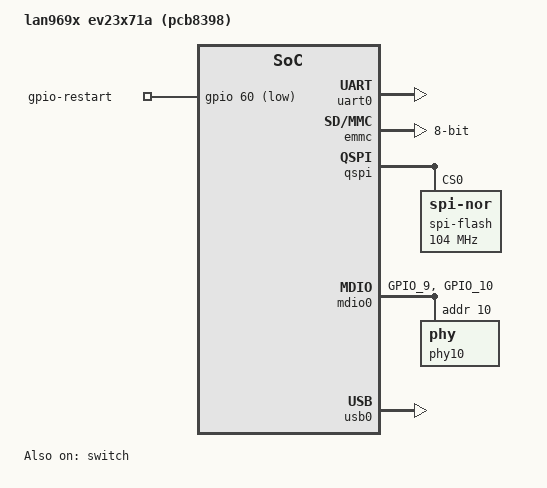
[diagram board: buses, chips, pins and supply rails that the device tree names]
/dts-v1/;

#include "lan969x_a0.dtsi"
#include "lan969x.dtsi"

#include <dt-bindings/gpio/gpio.h>
#include <dt-bindings/mscc/sparx5_data.h>

/ {
	model = "lan969x ev23x71a (pcb8398)";

	gpio-restart {
		compatible = "gpio-restart";
		gpios = <&gpio 60 GPIO_ACTIVE_LOW>;
		priority = <200>;
	};
};

&uart0 {
	status = "okay";
	pinctrl-0 = <&fc0_pins>;
	pinctrl-names = "default";
};

&emmc {
	status = "okay";
	pinctrl-0 = <&emmc_sd_pins>;
	pinctrl-names = "default";
	bus-width = <8>;
};

&qspi {
	status = "okay";
	spi-flash@0 {
		status = "okay";
		compatible = "jedec,spi-nor";
		reg = <0>;
		spi-max-frequency = <104000000>;
		m25p,fast-read;
		spi-tx-bus-width = <1>;
		spi-rx-bus-width = <4>;
	};
};

&gpio {
	mdio_pins: mdio-pins {
		pins = "GPIO_9", "GPIO_10";
		function = "miim";
	};
};

&mdio0 {
	pinctrl-0 = <&mdio_pins>;
	pinctrl-names = "default";
	status = "okay";

	phy10: phy@10 {
		reg = <10>;
	};
};

&switch {
	status = "okay";
	ethernet-ports {
		port10: port@10 { // physical port 7
			reg = <10>;
			phy-handle = <&phy10>;
			phys = <IF_QSGMII FA_SERDES_TYPE_10G 2>;
		};
	};
};

&usb0 {
	status = "okay";
	pinctrl-0 = <&usb_ulpi_pins>, <&usb_rst_pins>, <&usb_over_pins>, <&usb_power_pins>;
	pinctrl-names = "default";
};
